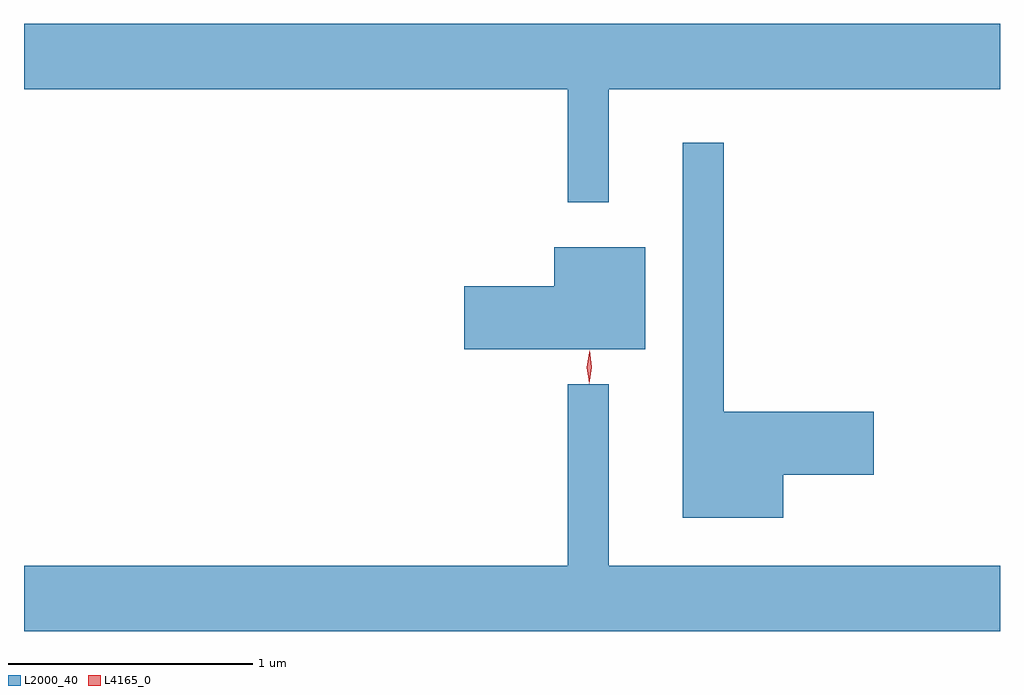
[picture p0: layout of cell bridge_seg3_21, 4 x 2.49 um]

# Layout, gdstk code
import gdstk
lib = gdstk.Library(unit=1e-6, precision=1e-09)
def P(c, l, *ps):  # polygons
    for p in ps: c.add(gdstk.Polygon(p, *l))
L2000_40 = (2000, 40)
L4165_0 = (4165, 0)

bridge_seg3_21 = lib.new_cell('bridge_seg3_21')
P(bridge_seg3_21, L2000_40, [(1380.279,1183.736),(1381.882,1183.736),(1381.882,1184.004),(1377.882,1184.004),(1377.882,1183.736),(1380.111,1183.736),(1380.111,1183.273),(1380.279,1183.273)],
  [(1380.994,1182.156),(1381.364,1182.156),(1381.364,1182.414),(1380.749,1182.414),(1380.749,1183.518),(1380.581,1183.518),(1380.581,1181.981),(1380.994,1181.981)],
  [(1380.429,1183.089),(1380.056,1183.089),(1380.056,1182.929),(1379.686,1182.929),(1379.686,1182.671),(1380.429,1182.671)],
  [(1381.882,1181.784),(1380.279,1181.784),(1380.279,1182.528),(1380.111,1182.528),(1380.111,1181.784),(1377.882,1181.784),(1377.882,1181.516),(1381.882,1181.516)])
P(bridge_seg3_21, L4165_0, [(1380.198,1182.53),(1380.19,1182.598),(1380.2,1182.666),(1380.2,1182.666),(1380.201,1182.666),(1380.209,1182.598),(1380.199,1182.53),(1380.199,1182.53)],
  [(1380.198,1182.533),(1380.189,1182.596),(1380.198,1182.659),(1380.199,1182.66),(1380.199,1182.659),(1380.209,1182.596),(1380.199,1182.533),(1380.199,1182.533)])

lib.write_gds('bridge_seg3_21.gds')
